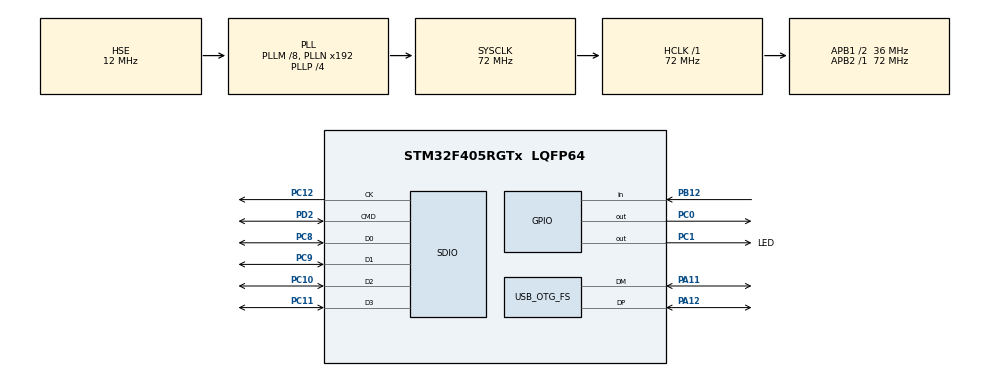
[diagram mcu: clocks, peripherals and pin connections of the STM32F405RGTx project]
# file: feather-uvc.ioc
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FATFS.BSP.number=1
FATFS0.BSP.STBoard=false
FATFS0.BSP.api=Unknown
FATFS0.BSP.instance=PB12
FATFS0.BSP.ip=GPIO
FATFS0.BSP.mode=Input
FATFS0.BSP.name=Detect_SDIO
FATFS0.BSP.solution=PB12
Mcu.Family=STM32F4
Mcu.Name=STM32F405RGTx
Mcu.Package=LQFP64
NVIC.OTG_FS_IRQn=true\:0\:0\:false\:false\:true\:true\:true\:true
NVIC.PriorityGroup=NVIC_PRIORITYGROUP_4
PA11.Mode=Host_Only
PA11.Signal=USB_OTG_FS_DM
PA12.Mode=Host_Only
PA12.Signal=USB_OTG_FS_DP
PB12.Signal=GPIO_Input
PC0.Signal=GPIO_Output
PC1.GPIO_Label=LED
PC1.Signal=GPIO_Output
PC10.Mode=SD_4_bits_Wide_bus
PC10.Signal=SDIO_D2
PC11.Mode=SD_4_bits_Wide_bus
PC11.Signal=SDIO_D3
PC12.Mode=SD_4_bits_Wide_bus
PC12.Signal=SDIO_CK
PC8.Mode=SD_4_bits_Wide_bus
PC8.Signal=SDIO_D0
PC9.Mode=SD_4_bits_Wide_bus
PC9.Signal=SDIO_D1
PD2.Mode=SD_4_bits_Wide_bus
PD2.Signal=SDIO_CMD
PH0-OSC_IN.Mode=HSE-External-Oscillator
PH0-OSC_IN.Signal=RCC_OSC_IN
PH1-OSC_OUT.Mode=HSE-External-Oscillator
PH1-OSC_OUT.Signal=RCC_OSC_OUT
ProjectManager.HeapSize=0x200
ProjectManager.StackSize=0x400
ProjectManager.TargetToolchain=STM32CubeIDE
RCC.48MHZClocksFreq_Value=48000000
RCC.AHBFreq_Value=72000000
RCC.APB1CLKDivider=RCC_HCLK_DIV2
RCC.APB1Freq_Value=36000000
RCC.APB1TimFreq_Value=72000000
RCC.APB2Freq_Value=72000000
RCC.APB2TimFreq_Value=72000000
RCC.CortexFreq_Value=72000000
RCC.HCLKFreq_Value=72000000
RCC.HSE_VALUE=12000000
RCC.HSI_VALUE=16000000
RCC.LSE_VALUE=32768
RCC.PLLM=8
RCC.PLLP=RCC_PLLP_DIV4
RCC.PLLQ=6
RCC.SYSCLKFreq_VALUE=72000000
RCC.SYSCLKSource=RCC_SYSCLKSOURCE_PLLCLK
RCC.VCOOutputFreq_Value=288000000
USB_HOST.BSP.number=1
USB_HOST.USBH_HandleTypeDef-CDC_FS=hUsbHostFS
USB_HOST.USBH_MAX_NUM_SUPPORTED_CLASS-CDC_FS=2
USB_HOST.USBH_MAX_SIZE_CONFIGURATION-CDC_FS=512
USB_HOST.VirtualModeFS=Cdc
USB_HOST0.BSP.STBoard=false
USB_HOST0.BSP.api=Unknown
USB_HOST0.BSP.instance=PC0
USB_HOST0.BSP.ip=GPIO
USB_HOST0.BSP.mode=Output
USB_HOST0.BSP.name=Drive_VBUS_FS
USB_HOST0.BSP.solution=PC0
USB_OTG_FS.Sof_enable=DISABLE
USB_OTG_FS.VirtualMode=Host_Only
USB_OTG_FS.phy_itface=HCD_PHY_EMBEDDED
VP_FATFS_VS_SDIO.Mode=SDIO
VP_USB_HOST_VS_USB_HOST_CDC_FS.Mode=CDC_FS
board=custom

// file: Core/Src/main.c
/* USER CODE BEGIN Header */
/**
  ******************************************************************************
  * @file           : main.c
  * @brief          : Main program body
  ******************************************************************************
  * @attention
  *
  * Copyright (c) 2023 STMicroelectronics.
  * All rights reserved.
  *
  * This software is licensed under terms that can be found in the LICENSE file
  * in the root directory of this software component.
  * If no LICENSE file comes with this software, it is provided AS-IS.
  *
  ******************************************************************************
  */
/* USER CODE END Header */
#include "main.h"
#include "fatfs.h"
#include "usb_host.h"

/* USER CODE BEGIN Includes */
#include "usbh_video.h"
#include "usbh_video_desc_parsing.h"
#include "usbh_video_stream_parsing.h"
/* USER CODE END Includes */

SD_HandleTypeDef hsd;

/* USER CODE BEGIN PV */
extern uint32_t uvc_frame_cnt;
extern uint8_t uvc_parsing_new_frame_ready;
extern uint8_t* uvc_ready_framebuffer_ptr;
extern uint32_t uvc_ready_frame_length;
extern USBH_HandleTypeDef hUsbHostFS;
volatile uint8_t uvc_framebuffer0[UVC_MAX_FRAME_SIZE];
/* USER CODE END PV */

void SystemClock_Config(void);
static void MX_GPIO_Init(void);
static void MX_SDIO_SD_Init(void);
void MX_USB_HOST_Process(void);

/* USER CODE BEGIN PFP */
extern void USB_HOST_camera_process(void);
uint16_t yuy2_to_rgb565_bt601(uint8_t y, uint8_t u, uint8_t v);
void convert_yuy2_array_to_rgb565_inplace(uint8_t* yuy2_data, int pixel_count);
/* USER CODE END PFP */

int main(void)
{
  /* USER CODE BEGIN 1 */
	unsigned int c;
  /* USER CODE END 1 */

  /* MCU Configuration--------------------------------------------------------*/

  /* Reset of all peripherals, Initializes the Flash interface and the Systick. */
  HAL_Init();

  /* Configure the system clock */
  SystemClock_Config();

  /* Initialize all configured peripherals */
  MX_GPIO_Init();
  MX_SDIO_SD_Init();
  MX_FATFS_Init();
  MX_USB_HOST_Init();
  /* USER CODE BEGIN 2 */
  // FATFS file initialization
  f_mount(&SDFatFS, SDPath, 1);
  f_open(&SDFile, "video", FA_CREATE_ALWAYS | FA_WRITE);
  f_write(&SDFile, (uint8_t[]){(uint8_t)UVC_TARGET_WIDTH, (uint8_t)UVC_TARGET_HEIGHT}, 2*sizeof(uint8_t), &c);// First 2-bytes: frame width, frame height

  USBH_VIDEO_Target_Format = USBH_VIDEO_YUY2;
  video_stream_init_buffers((uint8_t*)uvc_framebuffer0, (uint8_t*)uvc_framebuffer0);
  /* USER CODE END 2 */

  /* Infinite loop */
  /* USER CODE BEGIN WHILE */
  uint32_t firstFrameTick;
  uint32_t currentFrameTick;
  uint8_t firstFrameFlag=0;
  uint8_t stopRecording = 0;
  while (1)
  {
    /* USER CODE END WHILE */
    MX_USB_HOST_Process();

    /* USER CODE BEGIN 3 */
    USB_HOST_camera_process();
    if(uvc_parsing_new_frame_ready && stopRecording == 0) {
    	uvc_parsing_new_frame_ready = 0;
    	if(firstFrameFlag == 0) {
    		firstFrameFlag = 1;
    		firstFrameTick = HAL_GetTick();
    		currentFrameTick = firstFrameTick;
    	} else {
    		currentFrameTick = HAL_GetTick() - firstFrameTick;
    		if(currentFrameTick == 10*1000) {
    			// Stop recording after 10 seconds
    			stopRecording = 1;
    			f_close(&SDFile);
    		}
    	}

    	convert_yuy2_array_to_rgb565_inplace(uvc_ready_framebuffer_ptr, UVC_TARGET_WIDTH*UVC_TARGET_HEIGHT);
    	f_write(&SDFile, (uint8_t*)&currentFrameTick, sizeof(currentFrameTick), &c); // Write frame time, in ms relative to first frame
    	f_write(&SDFile, uvc_ready_framebuffer_ptr, 2*UVC_TARGET_WIDTH*UVC_TARGET_HEIGHT, &c);// Write frame data in RGB565 format

		video_stream_ready_update();// Call this to signal processing complete and buffer is available for next frame
    } else {
    	//HAL_Delay(1000);
    	//HAL_GPIO_TogglePin(LED_GPIO_Port, LED_Pin);
    }
  }
  /* USER CODE END 3 */
}

void SystemClock_Config(void)
{
  RCC_OscInitTypeDef RCC_OscInitStruct = {0};
  RCC_ClkInitTypeDef RCC_ClkInitStruct = {0};

  /** Configure the main internal regulator output voltage
  */
  __HAL_RCC_PWR_CLK_ENABLE();
  __HAL_PWR_VOLTAGESCALING_CONFIG(PWR_REGULATOR_VOLTAGE_SCALE1);

  /** Initializes the RCC Oscillators according to the specified parameters
  * in the RCC_OscInitTypeDef structure.
  */
  RCC_OscInitStruct.OscillatorType = RCC_OSCILLATORTYPE_HSE;
  RCC_OscInitStruct.HSEState = RCC_HSE_ON;
  RCC_OscInitStruct.PLL.PLLState = RCC_PLL_ON;
  RCC_OscInitStruct.PLL.PLLSource = RCC_PLLSOURCE_HSE;
  RCC_OscInitStruct.PLL.PLLM = 8;
  RCC_OscInitStruct.PLL.PLLN = 192;
  RCC_OscInitStruct.PLL.PLLP = RCC_PLLP_DIV4;
  RCC_OscInitStruct.PLL.PLLQ = 6;
  if (HAL_RCC_OscConfig(&RCC_OscInitStruct) != HAL_OK)
  {
    Error_Handler();
  }

  /** Initializes the CPU, AHB and APB buses clocks
  */
  RCC_ClkInitStruct.ClockType = RCC_CLOCKTYPE_HCLK|RCC_CLOCKTYPE_SYSCLK
                              |RCC_CLOCKTYPE_PCLK1|RCC_CLOCKTYPE_PCLK2;
  RCC_ClkInitStruct.SYSCLKSource = RCC_SYSCLKSOURCE_PLLCLK;
  RCC_ClkInitStruct.AHBCLKDivider = RCC_SYSCLK_DIV1;
  RCC_ClkInitStruct.APB1CLKDivider = RCC_HCLK_DIV2;
  RCC_ClkInitStruct.APB2CLKDivider = RCC_HCLK_DIV1;

  if (HAL_RCC_ClockConfig(&RCC_ClkInitStruct, FLASH_LATENCY_2) != HAL_OK)
  {
    Error_Handler();
  }
}

static void MX_SDIO_SD_Init(void)
{

  hsd.Instance = SDIO;
  hsd.Init.ClockEdge = SDIO_CLOCK_EDGE_RISING;
  hsd.Init.ClockBypass = SDIO_CLOCK_BYPASS_DISABLE;
  hsd.Init.ClockPowerSave = SDIO_CLOCK_POWER_SAVE_DISABLE;
  hsd.Init.BusWide = SDIO_BUS_WIDE_4B;
  hsd.Init.HardwareFlowControl = SDIO_HARDWARE_FLOW_CONTROL_DISABLE;
  hsd.Init.ClockDiv = 0;

}

static void MX_GPIO_Init(void)
{
  GPIO_InitTypeDef GPIO_InitStruct = {0};

  /* GPIO Ports Clock Enable */
  __HAL_RCC_GPIOH_CLK_ENABLE();
  __HAL_RCC_GPIOC_CLK_ENABLE();
  __HAL_RCC_GPIOB_CLK_ENABLE();
  __HAL_RCC_GPIOA_CLK_ENABLE();
  __HAL_RCC_GPIOD_CLK_ENABLE();

  /*Configure GPIO pin Output Level */
  HAL_GPIO_WritePin(GPIOC, GPIO_PIN_0|LED_Pin, GPIO_PIN_RESET);

  /*Configure GPIO pins : PC0 LED_Pin */
  GPIO_InitStruct.Pin = GPIO_PIN_0|LED_Pin;
  GPIO_InitStruct.Mode = GPIO_MODE_OUTPUT_PP;
  GPIO_InitStruct.Pull = GPIO_NOPULL;
  GPIO_InitStruct.Speed = GPIO_SPEED_FREQ_LOW;
  HAL_GPIO_Init(GPIOC, &GPIO_InitStruct);

  /*Configure GPIO pin : PB12 */
  GPIO_InitStruct.Pin = GPIO_PIN_12;
  GPIO_InitStruct.Mode = GPIO_MODE_INPUT;
  GPIO_InitStruct.Pull = GPIO_NOPULL;
  HAL_GPIO_Init(GPIOB, &GPIO_InitStruct);

}

/* USER CODE BEGIN 4 */
uint16_t yuy2_to_rgb565_bt601(uint8_t y, uint8_t u, uint8_t v) {
    // Convert YUY2 to RGB24 using BT.601
    int r = y + 1.403 * (v - 128);
    int g = y - 0.344 * (u - 128) - 0.714 * (v - 128);
    int b = y + 1.773 * (u - 128);

    // Clamp the values to [0, 255]
    r = r < 0 ? 0 : (r > 255 ? 255 : r);
    g = g < 0 ? 0 : (g > 255 ? 255 : g);
    b = b < 0 ? 0 : (b > 255 ? 255 : b);

    // Convert RGB24 to RGB565
    uint16_t r5 = r >> 3;
    uint16_t g6 = g >> 2;
    uint16_t b5 = b >> 3;

    return (r5 << 11) | (g6 << 5) | b5;
}

void convert_yuy2_array_to_rgb565_inplace(uint8_t* yuy2_data, int pixel_count) {
    for (int i = 0; i < pixel_count; i += 2) {
        uint8_t y0 = yuy2_data[2 * i];
        uint8_t u = yuy2_data[2 * i + 1];
        uint8_t y1 = yuy2_data[2 * i + 2];
        uint8_t v = yuy2_data[2 * i + 3];

        uint16_t rgb565_0 = yuy2_to_rgb565_bt601(y0, u, v);
        uint16_t rgb565_1 = yuy2_to_rgb565_bt601(y1, u, v);

        // Store RGB565 values in the same YUY2 array in RGB order
        yuy2_data[2 * i] = rgb565_0 >> 8;         // Upper byte of first RGB565 value (RRRRRGGG)
        yuy2_data[2 * i + 1] = rgb565_0 & 0xFF;   // Lower byte of first RGB565 value (GGGBBBBB)
        yuy2_data[2 * i + 2] = rgb565_1 >> 8;     // Upper byte of second RGB565 value (RRRRRGGG)
        yuy2_data[2 * i + 3] = rgb565_1 & 0xFF;   // Lower byte of second RGB565 value (GGGBBBBB)
    }
}

/* USER CODE END 4 */

void Error_Handler(void)
{
  __disable_irq();
  while (1)
  {
  }
}
